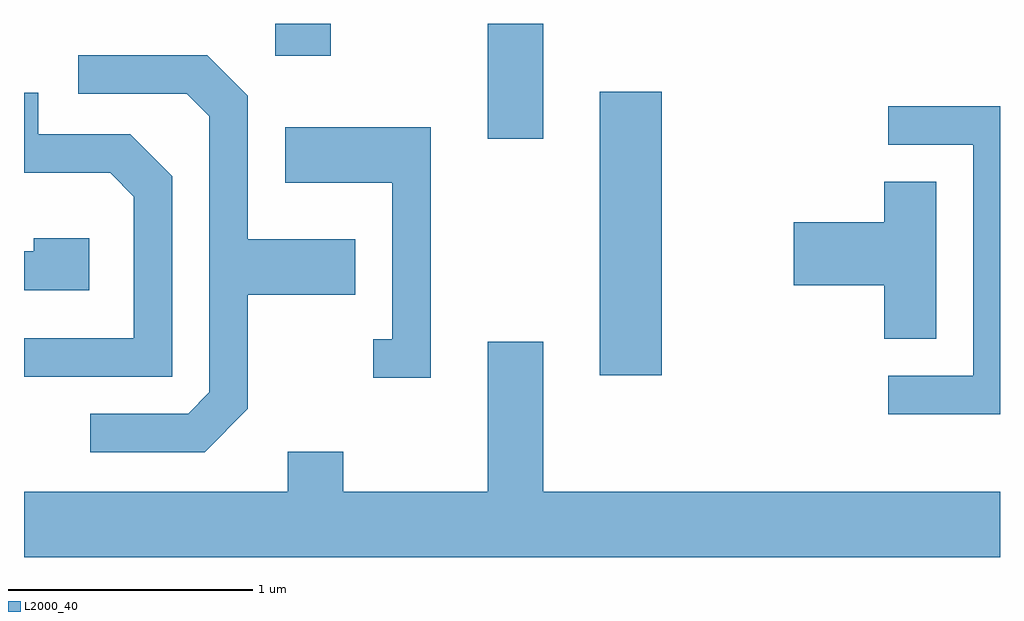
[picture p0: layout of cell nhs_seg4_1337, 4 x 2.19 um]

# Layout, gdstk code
import gdstk
lib = gdstk.Library(unit=1e-6, precision=1e-09)
def R(c, l, rs):  # rectangles x0, y0, x1, y1
    for r in rs: c.add(gdstk.rectangle(r[:2], r[2:], *l))
def P(c, l, *ps):  # polygons
    for p in ps: c.add(gdstk.Polygon(p, *l))
L2000_40 = (2000, 40)

nhs_seg4_1337 = lib.new_cell('nhs_seg4_1337')
R(nhs_seg4_1337, L2000_40, [(225.971,1346.541,226.224,1347.704), (225.511,1347.511,225.739,1347.982), (224.641,1347.851,224.869,1347.982)])
P(nhs_seg4_1337, L2000_40, [(224.529,1346.404),(224.529,1346.871),(224.969,1346.871),(224.969,1347.099),(224.529,1347.099),(224.529,1347.687),(224.362,1347.854),(223.833,1347.854),(223.833,1347.696),(224.279,1347.696),(224.371,1347.604),(224.371,1346.472),(224.284,1346.384),(223.883,1346.384),(223.883,1346.226),(224.352,1346.226)],
  [(224.219,1347.357),(224.047,1347.529),(223.669,1347.529),(223.669,1347.699),(223.611,1347.699),(223.611,1347.371),(223.964,1347.371),(224.061,1347.274),(224.061,1346.694),(223.611,1346.694),(223.611,1346.536),(224.219,1346.536)],
  [(227.611,1347.644),(227.153,1347.644),(227.153,1347.486),(227.501,1347.486),(227.501,1346.539),(227.153,1346.539),(227.153,1346.381),(227.611,1346.381)],
  [(225.279,1347.559),(224.681,1347.559),(224.681,1347.331),(225.121,1347.331),(225.121,1346.689),(225.043,1346.689),(225.043,1346.531),(225.279,1346.531)],
  [(227.349,1347.334),(227.136,1347.334),(227.136,1347.169),(226.766,1347.169),(226.766,1346.911),(227.136,1346.911),(227.136,1346.691),(227.349,1346.691)],
  [(223.879,1347.104),(223.651,1347.104),(223.651,1347.049),(223.611,1347.049),(223.611,1346.891),(223.879,1346.891)],
  [(227.611,1346.064),(225.739,1346.064),(225.739,1346.679),(225.511,1346.679),(225.511,1346.064),(224.919,1346.064),(224.919,1346.229),(224.691,1346.229),(224.691,1346.064),(223.611,1346.064),(223.611,1345.796),(227.611,1345.796)])

lib.write_gds('nhs_seg4_1337.gds')
